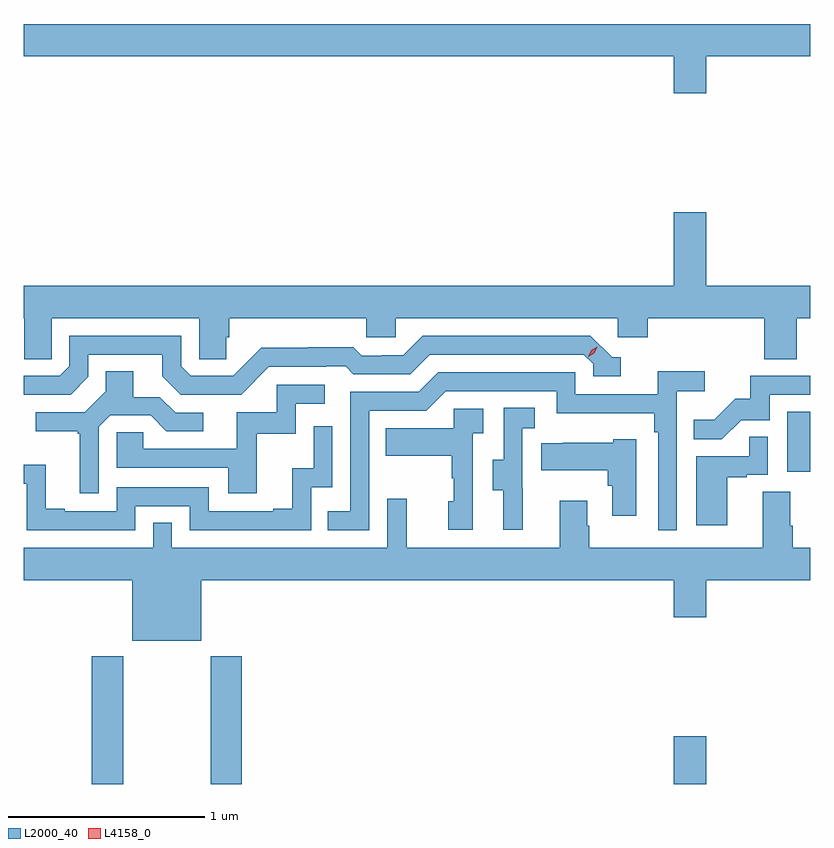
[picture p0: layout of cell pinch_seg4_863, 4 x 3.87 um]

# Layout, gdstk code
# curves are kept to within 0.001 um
import gdstk
lib = gdstk.Library(unit=1e-6, precision=1e-09)
def R(c, l, rs):  # rectangles x0, y0, x1, y1
    for r in rs: c.add(gdstk.rectangle(r[:2], r[2:], *l))
def P(c, l, *ps):  # polygons
    for p in ps: c.add(gdstk.Polygon(p, *l))
L2000_40 = (2000, 40)
L4158_0 = (4158, 0)

pinch_seg4_863 = lib.new_cell('pinch_seg4_863')
R(pinch_seg4_863, L2000_40, [(833.375,799.779,833.535,800.428), (833.98,799.779,834.14,800.428), (836.336,799.779,836.5,800.023), (836.912,801.366,837.03,801.673)])
P(pinch_seg4_863, L2000_40, [(836.5,803.48),(837.03,803.48),(837.03,803.644),(833.03,803.644),(833.03,803.48),(836.336,803.48),(836.336,803.292),(836.5,803.292)],
  [(833.172,802.148),(833.922,802.148),(833.922,801.94),(834.059,801.94),(834.059,802.05),(834.074,802.05),(834.074,802.148),(834.771,802.148),(834.771,802.05),(834.921,802.05),(834.921,802.148),(836.052,802.148),(836.052,802.05),(836.204,802.05),(836.204,802.148),(836.795,802.148),(836.795,801.94),(836.96,801.94),(836.96,802.148),(837.03,802.148),(837.03,802.312),(836.5,802.312),(836.5,802.687),(836.336,802.687),(836.336,802.312),(833.03,802.312),(833.03,802.148),(833.033,802.148),(833.033,801.94),(833.172,801.94)],
  [(833.052,801.759),(833.268,801.759),(833.358,801.849),(833.358,801.963),(833.735,801.963),(833.735,801.853),(833.829,801.759),(834.135,801.759),(834.276,801.9),(834.569,801.9),(834.569,801.903),(834.668,801.903),(834.707,801.864),(834.996,801.864),(835.095,801.963),(835.878,801.963),(835.926,801.915),(835.926,801.852),(836.065,801.852),(836.065,801.948),(836.022,801.948),(835.911,802.059),(835.058,802.059),(834.959,801.96),(834.852,801.96),(834.852,801.957),(834.749,801.957),(834.707,802),(834.474,802),(834.474,801.997),(834.238,801.997),(834.096,801.855),(833.88,801.855),(833.832,801.903),(833.832,802.059),(833.262,802.059),(833.262,801.903),(833.214,801.855),(833.03,801.855),(833.03,801.758)],
  [(834.786,801.678),(835.077,801.678),(835.176,801.777),(835.74,801.777),(835.74,801.665),(836.236,801.665),(836.236,801.569),(836.256,801.569),(836.256,801.069),(836.352,801.069),(836.352,801.776),(836.494,801.776),(836.494,801.878),(836.255,801.878),(836.255,801.762),(835.836,801.762),(835.836,801.873),(835.139,801.873),(835.04,801.774),(834.69,801.774),(834.69,801.165),(834.577,801.165),(834.577,801.069),(834.786,801.069)],
  [(833.412,801.597),(833.469,801.654),(833.675,801.654),(833.756,801.573),(833.944,801.573),(833.944,801.666),(833.802,801.666),(833.722,801.746),(833.587,801.746),(833.587,801.878),(833.447,801.878),(833.447,801.776),(833.34,801.669),(833.091,801.669),(833.091,801.572),(833.304,801.572),(833.304,801.561),(833.315,801.561),(833.315,801.258),(833.412,801.258)],
  [(836.679,801.63),(836.823,801.63),(836.823,801.759),(837.03,801.759),(837.03,801.855),(836.725,801.855),(836.725,801.738),(836.648,801.738),(836.541,801.631),(836.437,801.631),(836.437,801.532),(836.581,801.532)],
  [(834.215,801.561),(834.414,801.561),(834.414,801.714),(834.562,801.714),(834.562,801.81),(834.318,801.81),(834.318,801.669),(834.113,801.669),(834.113,801.483),(833.639,801.483),(833.639,801.567),(833.502,801.567),(833.502,801.387),(834.071,801.387),(834.071,801.258),(834.215,801.258)],
  [(835.568,801.285),(835.566,801.285),(835.566,801.589),(835.63,801.589),(835.63,801.692),(835.47,801.692),(835.47,801.429),(835.415,801.429),(835.415,801.274),(835.469,801.274),(835.469,801.072),(835.568,801.072)],
  [(835.314,801.563),(835.366,801.563),(835.366,801.687),(835.218,801.687),(835.218,801.589),(834.871,801.589),(834.871,801.449),(835.206,801.449),(835.206,801.335),(835.216,801.335),(835.216,801.216),(835.19,801.216),(835.19,801.072),(835.314,801.072)],
  [(833.598,801.192),(833.874,801.192),(833.874,801.069),(834.492,801.069),(834.492,801.288),(834.6,801.288),(834.6,801.598),(834.504,801.598),(834.504,801.386),(834.395,801.386),(834.395,801.178),(834.299,801.178),(834.299,801.165),(833.97,801.165),(833.97,801.288),(833.502,801.288),(833.502,801.165),(833.239,801.165),(833.239,801.178),(833.143,801.178),(833.143,801.403),(833.03,801.403),(833.03,801.305),(833.046,801.305),(833.046,801.069),(833.598,801.069)],
  [(836.608,801.339),(836.708,801.339),(836.708,801.351),(836.814,801.351),(836.814,801.545),(836.719,801.545),(836.719,801.447),(836.45,801.447),(836.45,801.096),(836.608,801.096)],
  [(836.146,801.532),(836.028,801.532),(836.028,801.514),(835.771,801.514),(835.771,801.511),(835.663,801.511),(835.663,801.374),(835.999,801.374),(835.999,801.297),(836.024,801.297),(836.024,801.144),(836.146,801.144)],
  [(833.932,800.816),(836.336,800.816),(836.336,800.628),(836.5,800.628),(836.5,800.816),(837.03,800.816),(837.03,800.98),(836.942,800.98),(836.942,801.092),(836.929,801.092),(836.929,801.266),(836.789,801.266),(836.789,800.98),(835.905,800.98),(835.905,801.092),(835.897,801.092),(835.897,801.22),(835.757,801.22),(835.757,800.98),(834.977,800.98),(834.977,801.229),(834.879,801.229),(834.879,800.98),(833.784,800.98),(833.784,801.107),(833.688,801.107),(833.688,800.98),(833.03,800.98),(833.03,800.816),(833.582,800.816),(833.582,800.507),(833.932,800.507)])
P(pinch_seg4_863, L4158_0, [(835.9,801.951),(835.9,801.951),(835.916,801.984),(835.947,802.003),(835.947,802.003),(835.947,802.003),(835.931,801.97),(835.9,801.951)])

lib.write_gds('pinch_seg4_863.gds')
